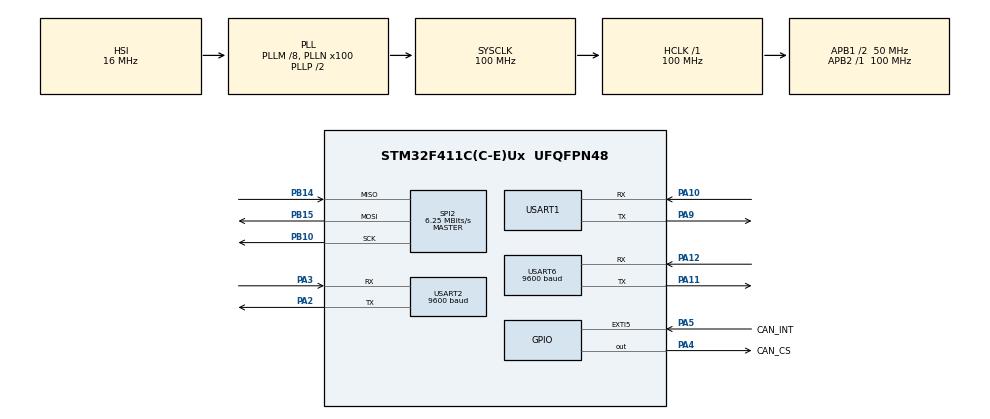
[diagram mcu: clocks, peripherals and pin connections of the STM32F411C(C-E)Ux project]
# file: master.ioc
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Dma.Request0=USART1_RX
Dma.USART1_RX.0.Direction=DMA_PERIPH_TO_MEMORY
Dma.USART1_RX.0.FIFOMode=DMA_FIFOMODE_DISABLE
Dma.USART1_RX.0.Instance=DMA2_Stream2
Dma.USART1_RX.0.MemDataAlignment=DMA_MDATAALIGN_BYTE
Dma.USART1_RX.0.MemInc=DMA_MINC_ENABLE
Dma.USART1_RX.0.Mode=DMA_CIRCULAR
Dma.USART1_RX.0.PeriphDataAlignment=DMA_PDATAALIGN_BYTE
Dma.USART1_RX.0.PeriphInc=DMA_PINC_DISABLE
Dma.USART1_RX.0.Priority=DMA_PRIORITY_LOW
FREERTOS.Queues01=queueCanToPi,16,16,1,Dynamic,NULL,NULL;queueAudio,8,uint16_t,0,Dynamic,NULL,NULL
FREERTOS.Tasks01=UART_Pi,32,512,StartUartPiTask,Default,NULL,Dynamic,NULL,NULL;CAN_Rx,40,512,StartCanRxTask,Default,NULL,Dynamic,NULL,NULL;GNSS_Parse,24,512,StartGnssParseTask,Default,NULL,Dynamic,NULL,NULL;Audio_DFPlayer,24,384,StartAudioTask,Default,NULL,Dynamic,NULL,NULL;Heartbeat_Mon,8,256,StartHeartbeatMonTask,Default,NULL,Dynamic,NULL,NULL
FREERTOS.configTOTAL_HEAP_SIZE=20480
Mcu.Family=STM32F4
Mcu.Name=STM32F411C(C-E)Ux
Mcu.Package=UFQFPN48
NVIC.DMA2_Stream2_IRQn=true\:5\:0\:false\:false\:true\:true\:false\:true\:true
NVIC.EXTI9_5_IRQn=true\:5\:0\:false\:false\:true\:true\:true\:true\:true
NVIC.PriorityGroup=NVIC_PRIORITYGROUP_4
NVIC.TIM1_UP_TIM10_IRQn=true\:15\:0\:false\:false\:true\:false\:false\:true\:true
NVIC.TimeBase=TIM1_UP_TIM10_IRQn
NVIC.TimeBaseIP=TIM1
NVIC.USART1_IRQn=true\:6\:0\:true\:false\:true\:true\:true\:true\:true
NVIC.USART2_IRQn=true\:6\:0\:true\:false\:true\:true\:true\:true\:true
PA10.Mode=Asynchronous
PA10.Signal=USART1_RX
PA11.Mode=Asynchronous
PA11.Signal=USART6_TX
PA12.Mode=Asynchronous
PA12.Signal=USART6_RX
PA13.Mode=Serial_Wire
PA13.Signal=SYS_JTMS-SWDIO
PA14.Mode=Serial_Wire
PA14.Signal=SYS_JTCK-SWCLK
PA2.Mode=Asynchronous
PA2.Signal=USART2_TX
PA3.Mode=Asynchronous
PA3.Signal=USART2_RX
PA4.GPIO_Label=CAN_CS
PA4.GPIO_Speed=GPIO_SPEED_FREQ_VERY_HIGH
PA4.PinState=GPIO_PIN_SET
PA4.Signal=GPIO_Output
PA5.GPIO_Label=CAN_INT
PA5.GPIO_ModeDefaultEXTI=GPIO_MODE_IT_FALLING
PA5.GPIO_PuPd=GPIO_PULLUP
PA5.Signal=GPXTI5
PA9.Mode=Asynchronous
PA9.Signal=USART1_TX
PB10.Mode=Full_Duplex_Master
PB10.Signal=SPI2_SCK
PB14.Mode=Full_Duplex_Master
PB14.Signal=SPI2_MISO
PB15.Mode=Full_Duplex_Master
PB15.Signal=SPI2_MOSI
PH0\ -\ OSC_IN.Mode=HSE-External-Oscillator
PH0\ -\ OSC_IN.Signal=RCC_OSC_IN
PH1\ -\ OSC_OUT.Mode=HSE-External-Oscillator
PH1\ -\ OSC_OUT.Signal=RCC_OSC_OUT
ProjectManager.HeapSize=0x200
ProjectManager.StackSize=0x400
ProjectManager.TargetToolchain=CMake
RCC.48MHZClocksFreq_Value=50000000
RCC.AHBFreq_Value=100000000
RCC.APB1CLKDivider=RCC_HCLK_DIV2
RCC.APB1Freq_Value=50000000
RCC.APB1TimFreq_Value=100000000
RCC.APB2Freq_Value=100000000
RCC.APB2TimFreq_Value=100000000
RCC.CortexFreq_Value=100000000
RCC.HCLKFreq_Value=100000000
RCC.HSE_VALUE=25000000
RCC.HSI_VALUE=16000000
RCC.LSE_VALUE=32768
RCC.PLLM=8
RCC.PLLN=100
RCC.SYSCLKFreq_VALUE=100000000
RCC.SYSCLKSource=RCC_SYSCLKSOURCE_PLLCLK
RCC.VCOOutputFreq_Value=200000000
SPI2.BaudRatePrescaler=SPI_BAUDRATEPRESCALER_8
SPI2.CalculateBaudRate=6.25 MBits/s
SPI2.Direction=SPI_DIRECTION_2LINES
SPI2.Mode=SPI_MODE_MASTER
SPI2.VirtualType=VM_MASTER
USART1.VirtualMode=VM_ASYNC
USART2.BaudRate=9600
USART2.VirtualMode=VM_ASYNC
USART6.BaudRate=9600
USART6.VirtualMode=VM_ASYNC
VP_FREERTOS_VS_CMSIS_V2.Mode=CMSIS_V2
VP_SYS_VS_tim1.Mode=TIM1
board=custom

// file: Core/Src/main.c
/* USER CODE BEGIN Header */
/**
  ******************************************************************************
  * @file           : main.c
  * @brief          : Main program body
  ******************************************************************************
  * @attention
  *
  * Copyright (c) 2026 STMicroelectronics.
  * All rights reserved.
  *
  * This software is licensed under terms that can be found in the LICENSE file
  * in the root directory of this software component.
  * If no LICENSE file comes with this software, it is provided AS-IS.
  *
  ******************************************************************************
  */
/* USER CODE END Header */
#include "main.h"
#include "cmsis_os.h"
#include "dma.h"
#include "spi.h"
#include "usart.h"
#include "gpio.h"

/* USER CODE BEGIN Includes */
#include "pi_protocol.h"
/* USER CODE END Includes */

void SystemClock_Config(void);
void MX_FREERTOS_Init(void);

int main(void)
{

  /* MCU Configuration--------------------------------------------------------*/

  /* Reset of all peripherals, Initializes the Flash interface and the Systick. */
  HAL_Init();

  /* Configure the system clock */
  SystemClock_Config();

  /* Initialize all configured peripherals */
  MX_GPIO_Init();
  MX_DMA_Init();
  MX_USART1_UART_Init();
  MX_SPI2_Init();
  MX_USART2_UART_Init();
  MX_USART6_UART_Init();
  /* USER CODE BEGIN 2 */
  PiProtocol_Init(&huart1);
  /* USER CODE END 2 */

  /* Init scheduler */
  osKernelInitialize();  /* Call init function for freertos objects (in cmsis_os2.c) */
  MX_FREERTOS_Init();

  /* Start scheduler */
  osKernelStart();

  /* We should never get here as control is now taken by the scheduler */

  /* Infinite loop */
  while (1)
  {

  }
}

void SystemClock_Config(void)
{
  RCC_OscInitTypeDef RCC_OscInitStruct = {0};
  RCC_ClkInitTypeDef RCC_ClkInitStruct = {0};

  /** Configure the main internal regulator output voltage
  */
  __HAL_RCC_PWR_CLK_ENABLE();
  __HAL_PWR_VOLTAGESCALING_CONFIG(PWR_REGULATOR_VOLTAGE_SCALE1);

  /** Initializes the RCC Oscillators according to the specified parameters
  * in the RCC_OscInitTypeDef structure.
  */
  RCC_OscInitStruct.OscillatorType = RCC_OSCILLATORTYPE_HSI;
  RCC_OscInitStruct.HSIState = RCC_HSI_ON;
  RCC_OscInitStruct.HSICalibrationValue = RCC_HSICALIBRATION_DEFAULT;
  RCC_OscInitStruct.PLL.PLLState = RCC_PLL_ON;
  RCC_OscInitStruct.PLL.PLLSource = RCC_PLLSOURCE_HSI;
  RCC_OscInitStruct.PLL.PLLM = 8;
  RCC_OscInitStruct.PLL.PLLN = 100;
  RCC_OscInitStruct.PLL.PLLP = RCC_PLLP_DIV2;
  RCC_OscInitStruct.PLL.PLLQ = 4;
  if (HAL_RCC_OscConfig(&RCC_OscInitStruct) != HAL_OK)
  {
    Error_Handler();
  }

  /** Initializes the CPU, AHB and APB buses clocks
  */
  RCC_ClkInitStruct.ClockType = RCC_CLOCKTYPE_HCLK|RCC_CLOCKTYPE_SYSCLK
                              |RCC_CLOCKTYPE_PCLK1|RCC_CLOCKTYPE_PCLK2;
  RCC_ClkInitStruct.SYSCLKSource = RCC_SYSCLKSOURCE_PLLCLK;
  RCC_ClkInitStruct.AHBCLKDivider = RCC_SYSCLK_DIV1;
  RCC_ClkInitStruct.APB1CLKDivider = RCC_HCLK_DIV2;
  RCC_ClkInitStruct.APB2CLKDivider = RCC_HCLK_DIV1;

  if (HAL_RCC_ClockConfig(&RCC_ClkInitStruct, FLASH_LATENCY_3) != HAL_OK)
  {
    Error_Handler();
  }
}

void HAL_TIM_PeriodElapsedCallback(TIM_HandleTypeDef *htim)
{
  if (htim->Instance == TIM1)
  {
    HAL_IncTick();
  }
}

void Error_Handler(void)
{
  __disable_irq();
  while (1)
  {
  }
}

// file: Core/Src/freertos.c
/* USER CODE BEGIN Header */
/**
  ******************************************************************************
  * File Name          : freertos.c
  * Description        : FreeRTOS implementation for STM32 Master Node
  ******************************************************************************
  * @attention
  *
  * Copyright (c) 2026 STMicroelectronics.
  * All rights reserved.
  *
  ******************************************************************************
  */
/* USER CODE END Header */

#include "FreeRTOS.h"
#include "task.h"
#include "main.h"
#include "cmsis_os.h"

/* USER CODE BEGIN Includes */
#include "spi.h"
#include "usart.h"
#include "MCP2515.h"
#include "DFPLAYER.h"
#include "gps_parser.h"
#include "pi_protocol.h"
#include "audio_queue.h"
#include <stdio.h>
#include <string.h>
/* USER CODE END Includes */

/* USER CODE BEGIN Variables */
volatile uint8_t can_rx_flag = 0;
volatile uint32_t last_slave_heartbeat_tick = 0;
volatile uint8_t is_critical_alarm_active = 0;
volatile uint32_t alarm_last_tick = 0;
/* USER CODE END Variables */
/* Definitions for UART_Pi */
osThreadId_t UART_PiHandle;
const osThreadAttr_t UART_Pi_attributes = {
  .name = "UART_Pi",
  .stack_size = 512 * 4,
  .priority = (osPriority_t) osPriorityAboveNormal,
};
/* Definitions for CAN_Rx */
osThreadId_t CAN_RxHandle;
const osThreadAttr_t CAN_Rx_attributes = {
  .name = "CAN_Rx",
  .stack_size = 512 * 4,
  .priority = (osPriority_t) osPriorityHigh,
};
/* Definitions for GNSS_Parse */
osThreadId_t GNSS_ParseHandle;
const osThreadAttr_t GNSS_Parse_attributes = {
  .name = "GNSS_Parse",
  .stack_size = 512 * 4,
  .priority = (osPriority_t) osPriorityNormal,
};
/* Definitions for Audio_DFPlayer */
osThreadId_t Audio_DFPlayerHandle;
const osThreadAttr_t Audio_DFPlayer_attributes = {
  .name = "Audio_DFPlayer",
  .stack_size = 384 * 4,
  .priority = (osPriority_t) osPriorityNormal,
};
/* Definitions for Heartbeat_Mon */
osThreadId_t Heartbeat_MonHandle;
const osThreadAttr_t Heartbeat_Mon_attributes = {
  .name = "Heartbeat_Mon",
  .stack_size = 256 * 4,
  .priority = (osPriority_t) osPriorityLow,
};
/* Definitions for queueCanToPi */
osMessageQueueId_t queueCanToPiHandle;
const osMessageQueueAttr_t queueCanToPi_attributes = {
  .name = "queueCanToPi"
};
/* Definitions for queueAudio */
osMessageQueueId_t queueAudioHandle;
const osMessageQueueAttr_t queueAudio_attributes = {
  .name = "queueAudio"
};

/* USER CODE BEGIN FunctionPrototypes */
void HAL_GPIO_EXTI_Callback(uint16_t GPIO_Pin) {
  if (GPIO_Pin == CAN_INT_Pin) {
    can_rx_flag = 1;
  }
}
/* USER CODE END FunctionPrototypes */

void StartUartPiTask(void *argument);
void StartCanRxTask(void *argument);
void StartGnssParseTask(void *argument);
void StartAudioTask(void *argument);
void StartHeartbeatMonTask(void *argument);

void MX_FREERTOS_Init(void); /* (MISRA C 2004 rule 8.1) */

void MX_FREERTOS_Init(void) {

  /* Create the queue(s) */
  /* creation of queueCanToPi */
  queueCanToPiHandle = osMessageQueueNew (16, 16, &queueCanToPi_attributes);

  /* creation of queueAudio */
  queueAudioHandle = osMessageQueueNew (8, sizeof(uint16_t), &queueAudio_attributes);

  /* Create the thread(s) */
  /* creation of UART_Pi */
  UART_PiHandle = osThreadNew(StartUartPiTask, NULL, &UART_Pi_attributes);

  /* creation of CAN_Rx */
  CAN_RxHandle = osThreadNew(StartCanRxTask, NULL, &CAN_Rx_attributes);

  /* creation of GNSS_Parse */
  GNSS_ParseHandle = osThreadNew(StartGnssParseTask, NULL, &GNSS_Parse_attributes);

  /* creation of Audio_DFPlayer */
  Audio_DFPlayerHandle = osThreadNew(StartAudioTask, NULL, &Audio_DFPlayer_attributes);

  /* creation of Heartbeat_Mon */
  Heartbeat_MonHandle = osThreadNew(StartHeartbeatMonTask, NULL, &Heartbeat_Mon_attributes);

}

/* USER CODE BEGIN Header_StartUartPiTask */
/**
  * @brief  Function implementing the UART_Pi thread.
  *         Receives commands from Pi (USART1), controls DFPlayer,
  *         cancels repeating alarms, and sends responses.
  * @param  argument: Not used
  * @retval None
  */
/* USER CODE END Header_StartUartPiTask */
#define PI_DMA_RX_BUF_SIZE 128
static uint8_t pi_dma_rx_buf[PI_DMA_RX_BUF_SIZE];
static uint16_t pi_dma_rx_tail = 0;

void StartUartPiTask(void *argument)
{
  /* USER CODE BEGIN StartUartPiTask */
  PiProtocol_Init(&huart1);
  PiFrame_t rx_frame;

  // Start continuous circular DMA reception for USART1 from Pi / ESP32
  __HAL_UART_CLEAR_OREFLAG(&huart1);
  HAL_UART_Receive_DMA(&huart1, pi_dma_rx_buf, PI_DMA_RX_BUF_SIZE);

  for(;;)
  {
    // Re-arm DMA if it ever stopped due to error
    if (huart1.RxState == HAL_UART_STATE_READY)
    {
      __HAL_UART_CLEAR_OREFLAG(&huart1);
      HAL_UART_Receive_DMA(&huart1, pi_dma_rx_buf, PI_DMA_RX_BUF_SIZE);
    }

    // Current position where DMA is writing
    uint16_t dma_head = PI_DMA_RX_BUF_SIZE - (uint16_t)__HAL_DMA_GET_COUNTER(huart1.hdmarx);

    // Process all pending bytes from circular buffer
    while (pi_dma_rx_tail != dma_head)
    {
      uint8_t byte = pi_dma_rx_buf[pi_dma_rx_tail];
      pi_dma_rx_tail = (pi_dma_rx_tail + 1) % PI_DMA_RX_BUF_SIZE;

      if (PiProtocol_ProcessByte(byte, &rx_frame))
      {
        if (rx_frame.main_evt == 0xF4)
        {
          // F8: Hủy Critical Repeating Alarm 08/001
          is_critical_alarm_active = 0;
          AudioQueue_SetLoop0801(0);
          DF_Stop();
        }
        else if (rx_frame.main_evt == 0xF3)
        {
          // F8: SOS từ Pi (UI / GPIO kích hoạt, source=2 hoặc 3)
          // Nếu source != 1 (không phải từ Slave vì Master đã tự phát), push 07/001 vào queue
          uint8_t source = (rx_frame.len > 0) ? rx_frame.data[0] : 2;
          if (rx_frame.sub_evt == 0x01 && source != 1)
          {
            AudioQueue_Push(0x07, 0x01);
          }
          else if (rx_frame.sub_evt == 0x02)
          {
            // Hủy SOS
            DF_Stop();
          }
        }
        else if (rx_frame.main_evt <= 0x08)
        {
          // F8: Đưa vào hàng đợi ưu tiên audio_queue
          AudioQueue_Push(rx_frame.main_evt, rx_frame.sub_evt);

          if (rx_frame.main_evt == 0x08 && rx_frame.sub_evt == 0x01)
          {
            // Kích hoạt chu kỳ lặp lại cảnh báo nguy cấp 08/001
            is_critical_alarm_active = 1;
            AudioQueue_SetLoop0801(1);
            alarm_last_tick = xTaskGetTickCount();
          }
        }
      }
    }

    osDelay(5);
  }
  /* USER CODE END StartUartPiTask */
}

/* USER CODE BEGIN Header_StartCanRxTask */
/**
* @brief Function implementing the CAN_Rx thread.
*        Receives CAN frames from Slave, decodes by CAN ID,
*        and forwards data frames to Raspberry Pi via UART1.
* @param argument: Not used
* @retval None
*/
/* USER CODE END Header_StartCanRxTask */
void StartCanRxTask(void *argument)
{
  /* USER CODE BEGIN StartCanRxTask */
  CAN_Message_t rx_msg;

  // Initialize MCP2515 CAN controller
  uint8_t can_ok = MCP2515_Init(&hspi2, CAN_CS_GPIO_Port, CAN_CS_Pin);

  for(;;)
  {
    // If CAN controller is not connected/initialized, yield CPU and retry periodically
    if (!can_ok)
    {
      osDelay(2000);
      can_ok = MCP2515_Init(&hspi2, CAN_CS_GPIO_Port, CAN_CS_Pin);
      continue;
    }

    if (can_rx_flag || MCP2515_CheckReceive())
    {
      can_rx_flag = 0;
      uint8_t max_msgs = 8; // Prevent infinite loop if SPI noise occurs
      while (max_msgs-- && MCP2515_ReceiveCANMessage(&rx_msg))
      {
        if (rx_msg.id == 0x100)
        {
          // 1. SOS Active from Slave -> EVENT_MAIN = 0xF3, sub_evt = 0x01, source = 1 (slave)
          uint8_t src = 1;
          PiProtocol_SendFrame(0xF3, 0x01, 1, &src);

          // F3 & F8: Kích hoạt loa khoang lái DFPlayer phát track 07/001 ngay lập tức qua hàng đợi ưu tiên 3 (không chờ Pi)
          AudioQueue_Push(0x07, 0x01);
        }
        else if (rx_msg.id == 0x101)
        {
          // F3 & F8: Hủy SOS từ Slave -> dừng âm thanh DFPlayer, báo lên Pi UART 0xF3, sub_evt = 0x02
          DF_Stop();
          uint8_t src = 1;
          PiProtocol_SendFrame(0xF3, 0x02, 1, &src);
        }
        else if (rx_msg.id == 0x120)
        {
          // 2. 16 seats bitmap update (2 bytes) -> EVENT_MAIN = 0xF1
          uint16_t seat_map = (rx_msg.data[0] << 8) | rx_msg.data[1];
          char seat_str[100];
          int offset = 0;
          for (int i = 1; i <= 16; i++) {
            int occupied = (seat_map >> (i - 1)) & 0x01;
            offset += snprintf(seat_str + offset, sizeof(seat_str) - offset, "s%d:%d", i, occupied);
          }
          PiProtocol_SendFrame(0xF1, 0x00, (uint8_t)strlen(seat_str), (const uint8_t*)seat_str);
        }
        else if (rx_msg.id == 0x200)
        {
          // F2 & F8: Phát ngay 05/001 ("Đã quẹt thẻ") qua audio_queue (ưu tiên 2), không chờ Pi
          AudioQueue_Push(0x05, 0x01);

          // 3. RFID Card UID (hỗ trợ đầy đủ thẻ 4, 5, hoặc 7 byte UID) -> EVENT_MAIN = 0xF2
          char rfid_str[24];
          int offset = 0;
          uint8_t uid_len = (rx_msg.dlc >= 4 && rx_msg.dlc <= 8) ? rx_msg.dlc : 5;
          for (uint8_t i = 0; i < uid_len; i++)
          {
            offset += snprintf(rfid_str + offset, sizeof(rfid_str) - offset, "%02X", rx_msg.data[i]);
          }
          PiProtocol_SendFrame(0xF2, 0x00, (uint8_t)strlen(rfid_str), (const uint8_t*)rfid_str);
        }
        else if (rx_msg.id == 0x210)
        {
          // 4. DHT11 Temp & Humidity -> EVENT_MAIN = 0xF5
          char dht_str[32];
          snprintf(dht_str, sizeof(dht_str), "%d.%d,%d.%d",
                   rx_msg.data[0], rx_msg.data[1], rx_msg.data[2], rx_msg.data[3]);
          PiProtocol_SendFrame(0xF5, 0x00, (uint8_t)strlen(dht_str), (const uint8_t*)dht_str);
        }
        else if (rx_msg.id == 0x220)
        {
          // 5. Slave Heartbeat update
          last_slave_heartbeat_tick = xTaskGetTickCount();
        }
      }
    }
    osDelay(10);
  }
  /* USER CODE END StartCanRxTask */
}

/* USER CODE BEGIN Header_StartGnssParseTask */
/**
* @brief Function implementing the GNSS_Parse thread.
*        Parses NMEA sentences from ATGM336H (USART2) and
*        sends coordinates/speed to Pi via UART1 (EVENT_MAIN = 0xF0).
* @param argument: Not used
* @retval None
*/
/* USER CODE END Header_StartGnssParseTask */
void StartGnssParseTask(void *argument)
{
  /* USER CODE BEGIN StartGnssParseTask */
  char gps_line[GPS_BUF_SIZE];
  uint8_t gps_idx = 0;
  uint8_t ch = 0;
  GPS_Data_t gps_data;
  uint32_t last_telemetry_tick = 0;

  // Send initial default fallback location
  GPS_GetDefaultPayload(gps_data.payload, sizeof(gps_data.payload));
  PiProtocol_SendFrame(0xF0, 0x00, (uint8_t)strlen(gps_data.payload), (const uint8_t*)gps_data.payload);

  for(;;)
  {
    // Clear any overrun or framing error that may have occurred
    __HAL_UART_CLEAR_OREFLAG(&huart2);
    __HAL_UART_CLEAR_NEFLAG(&huart2);
    __HAL_UART_CLEAR_FEFLAG(&huart2);

    uint8_t byte_received = 0;
    while (HAL_UART_Receive(&huart2, &ch, 1, 5) == HAL_OK)
    {
      byte_received = 1;
      if (ch == '$')
      {
        gps_idx = 0;
        gps_line[gps_idx++] = ch;
      }
      else if (gps_idx > 0)
      {
        if (ch == '\r' || ch == '\n')
        {
          gps_line[gps_idx] = '\0';
          if (gps_idx > 10 && gps_line[0] == '$')
          {
            if (GPS_ParseNMEA(gps_line, &gps_data))
            {
              // Valid fix obtained: send immediately or throttle to 1s
              if (xTaskGetTickCount() - last_telemetry_tick >= pdMS_TO_TICKS(1000))
              {
                last_telemetry_tick = xTaskGetTickCount();
                PiProtocol_SendFrame(0xF0, 0x00, (uint8_t)strlen(gps_data.payload), (const uint8_t*)gps_data.payload);
              }
            }
          }
          gps_idx = 0;
          break; // Finished receiving a sentence, allow loop to continue
        }
        else if (gps_idx < GPS_BUF_SIZE - 1)
        {
          gps_line[gps_idx++] = ch;
        }
        else
        {
          gps_idx = 0;
        }
      }
    }

    if (!byte_received)
    {
      // Fallback periodic transmission every 5s if GPS module hasn't responded
      if (xTaskGetTickCount() - last_telemetry_tick >= pdMS_TO_TICKS(5000))
      {
        last_telemetry_tick = xTaskGetTickCount();
        GPS_GetDefaultPayload(gps_data.payload, sizeof(gps_data.payload));
        PiProtocol_SendFrame(0xF0, 0x00, (uint8_t)strlen(gps_data.payload), (const uint8_t*)gps_data.payload);
      }
      osDelay(5);
    }
  }
  /* USER CODE END StartGnssParseTask */
}

/* USER CODE BEGIN Header_StartAudioTask */
/**
* @brief Function implementing the Audio_DFPlayer thread.
*        Plays sound tracks on DFPlayer Mini according to
*        commands received from queueAudio, and handles alarm loop.
* @param argument: Not used
* @retval None
*/
/* USER CODE END Header_StartAudioTask */
void StartAudioTask(void *argument)
{
  /* USER CODE BEGIN StartAudioTask */
  AudioQueue_Init();
  DF_Init(&huart6);
  osDelay(1800); // Cho DFPlayer va the SD khoi dong hoan tat

  DF_SetVolume(26); // Set volume am luong lon ro rang
  osDelay(100);

  // Startup test: play welcome track 01/001 qua audio_queue
  AudioQueue_Push(0x01, 0x01);

  AudioItem_t current_item = {0};
  uint8_t is_playing = 0;
  uint32_t play_start_tick = 0;
  uint32_t play_duration_ticks = 0;

  for(;;)
  {
    uint32_t now = xTaskGetTickCount();

    // 1. Kiem tra track dang phat da het thoi gian chua (Master tu quan ly thoi gian <= 4s)
    if (is_playing)
    {
      if ((now - play_start_tick) >= play_duration_ticks)
      {
        // Track da phat xong
        is_playing = 0;
        current_item.priority = 0;
      }
    }

    // 2. Kiem tra preemption: neu trong queue co track co priority cao hon track dang phat
    uint8_t next_prio = AudioQueue_PeekPriority();
    if (is_playing && (next_prio > current_item.priority))
    {
      // Ngat track dang phat de nhuong quyen uu tien cao hon
      DF_Stop();
      osDelay(30);
      is_playing = 0;
      current_item.priority = 0;
    }

    // 3. Neu dang ranh, lay track tiep theo tu queue de phat
    if (!is_playing)
    {
      AudioItem_t next_item;
      if (AudioQueue_Pop(&next_item))
      {
        current_item = next_item;
        is_playing = 1;
        play_start_tick = xTaskGetTickCount();
        play_duration_ticks = pdMS_TO_TICKS(next_item.duration_ms);

        DF_PlayFolder(next_item.main_evt, next_item.sub_evt);
      }
      else if (AudioQueue_IsLoop0801())
      {
        // 4. Khi queue trong va co lap 08/001 dang kich hoat (Critical Alarm lap moi ~4.5s)
        if ((now - alarm_last_tick) >= pdMS_TO_TICKS(4500))
        {
          alarm_last_tick = xTaskGetTickCount();
          current_item.main_evt = 0x08;
          current_item.sub_evt = 0x01;
          current_item.priority = AUDIO_PRIO_CRITICAL;
          current_item.duration_ms = 4000;
          is_playing = 1;
          play_start_tick = xTaskGetTickCount();
          play_duration_ticks = pdMS_TO_TICKS(4000);

          DF_PlayFolder(0x08, 0x01);
        }
      }
    }

    osDelay(20);
  }
  /* USER CODE END StartAudioTask */
}

/* USER CODE BEGIN Header_StartHeartbeatMonTask */
/**
* @brief Function implementing the Heartbeat_Mon thread.
*        Monitors CAN heartbeat from Slave node (CAN ID 0x220).
*        Alerts Pi if heartbeat is lost for more than 3.5s.
* @param argument: Not used
* @retval None
*/
/* USER CODE END Header_StartHeartbeatMonTask */
void StartHeartbeatMonTask(void *argument)
{
  /* USER CODE BEGIN StartHeartbeatMonTask */
  // Give Slave 5s boot margin before monitoring
  osDelay(5000);

  for(;;)
  {
    osDelay(1000);
    if (last_slave_heartbeat_tick != 0)
    {
      uint32_t current_tick = xTaskGetTickCount();
      if ((current_tick - last_slave_heartbeat_tick) > pdMS_TO_TICKS(3500))
      {
        // Slave disconnected / bus lost
        char err_msg[] = "SLAVE_OFFLINE";
        PiProtocol_SendFrame(0x08, 0x02, (uint8_t)strlen(err_msg), (const uint8_t*)err_msg);
      }
    }
  }
  /* USER CODE END StartHeartbeatMonTask */
}
